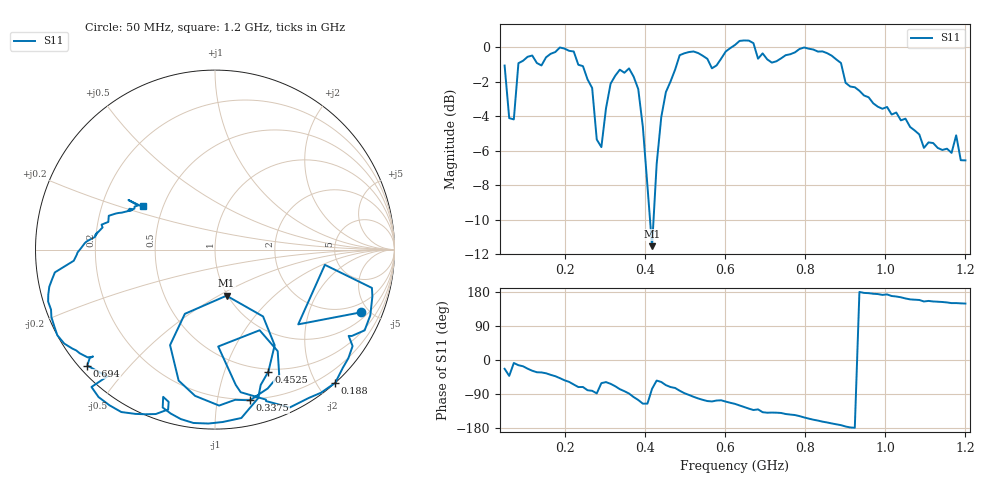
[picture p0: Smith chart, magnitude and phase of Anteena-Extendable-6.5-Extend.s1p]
# HZ S RI R 50
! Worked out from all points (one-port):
!   101 points, 50 MHz to 1.2 GHz, reference 50 ohm
!   lowest |S11| = -11.5 dB at 418 MHz (marker M1), VSWR 1.72, Z = 49.4 - j27.3 ohm
!   |S11| at or under -10 dB: 412.9 MHz to 421.7 MHz (8.821 MHz wide, 2.11 % of centre)
!   S11 on the Smith chart (normalised r, x): 50 MHz: 1.37, -4.46; 188 MHz: 0.00, -2.25; 337.5 MHz: 0.19, -1.24; 452.5 MHz: 0.47, -1.42; 694 MHz: 0.02, -0.39; 1.2 GHz: 0.38, +0.24
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5e7  0.8142 -0.3493
6.15e7  0.4638 -0.4164
7.3e7  0.6121 -0.0849
8.45e7  0.8743 -0.2136
1.88e8  0.6699 -0.7421
1.995e8  0.5905 -0.7975
2.455e8  0.2836 -0.8358
2.685e8  0.1155 -0.7537
2.8e8  0.0179 -0.5398
2.915e8  0.2486 -0.4493
3.145e8  0.3577 -0.6983
3.375e8  0.195 -0.8395
3.72e8  -0.1109 -0.815
3.95e8  -0.2504 -0.5322
4.18e8  0.0643 -0.2568
4.295e8  0.2678 -0.3724
4.525e8  0.2974 -0.6795
4.87e8  0.1469 -0.9382
5.445e8  -0.2472 -0.9131
5.675e8  -0.2887 -0.8204
5.905e8  -0.2611 -0.8906
6.25e8  -0.4428 -0.9154
6.94e8  -0.7117 -0.6459
7.745e8  -0.7949 -0.5515
8.55e8  -0.9289 -0.2515
9.125e8  -0.7695 -0.0272
1.062e9  -0.5521 0.2012
1.2e9  -0.4027 0.2421
